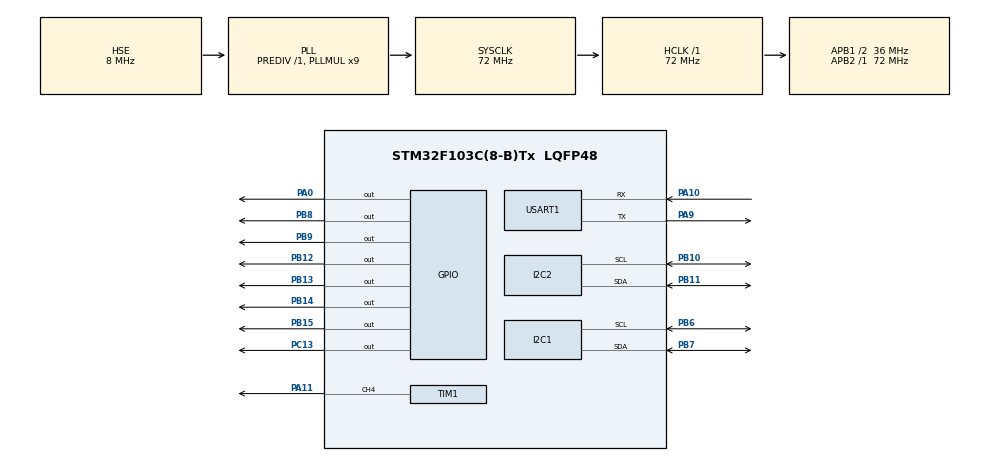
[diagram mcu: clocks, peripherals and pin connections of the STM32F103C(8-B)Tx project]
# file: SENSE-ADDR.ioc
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I2C2.NoStretchMode=I2C_NOSTRETCH_DISABLE
Mcu.Family=STM32F1
Mcu.Name=STM32F103C(8-B)Tx
Mcu.Package=LQFP48
NVIC.PriorityGroup=NVIC_PRIORITYGROUP_4
NVIC.TIM1_BRK_IRQn=true\:12\:0\:true\:false\:true\:true\:true\:true
NVIC.TIM1_CC_IRQn=true\:12\:0\:true\:false\:true\:true\:true\:true
NVIC.TIM1_TRG_COM_IRQn=true\:12\:0\:true\:false\:true\:true\:true\:true
NVIC.TIM1_UP_IRQn=true\:12\:0\:true\:false\:true\:true\:true\:true
PA0-WKUP.Signal=GPIO_Output
PA10.Mode=Asynchronous
PA10.Signal=USART1_RX
PA11.Signal=S_TIM1_CH4
PA9.Mode=Asynchronous
PA9.Signal=USART1_TX
PB10.Mode=I2C
PB10.Signal=I2C2_SCL
PB11.Mode=I2C
PB11.Signal=I2C2_SDA
PB12.GPIO_PuPd=GPIO_PULLDOWN
PB12.Signal=GPIO_Output
PB13.GPIO_PuPd=GPIO_PULLDOWN
PB13.Signal=GPIO_Output
PB14.GPIO_PuPd=GPIO_PULLDOWN
PB14.Signal=GPIO_Output
PB15.GPIO_PuPd=GPIO_PULLDOWN
PB15.Signal=GPIO_Output
PB6.Mode=I2C
PB6.Signal=I2C1_SCL
PB7.Mode=I2C
PB7.Signal=I2C1_SDA
PB8.Signal=GPIO_Output
PB9.Signal=GPIO_Output
PC13-TAMPER-RTC.Signal=GPIO_Output
PC14-OSC32_IN.Mode=LSE-External-Oscillator
PC14-OSC32_IN.Signal=RCC_OSC32_IN
PC15-OSC32_OUT.Mode=LSE-External-Oscillator
PC15-OSC32_OUT.Signal=RCC_OSC32_OUT
PD0-OSC_IN.Mode=HSE-External-Oscillator
PD0-OSC_IN.Signal=RCC_OSC_IN
PD1-OSC_OUT.Mode=HSE-External-Oscillator
PD1-OSC_OUT.Signal=RCC_OSC_OUT
ProjectManager.HeapSize=0x200
ProjectManager.StackSize=0x400
ProjectManager.TargetToolchain=STM32CubeIDE
RCC.AHBFreq_Value=72000000
RCC.APB1CLKDivider=RCC_HCLK_DIV2
RCC.APB1Freq_Value=36000000
RCC.APB1TimFreq_Value=72000000
RCC.APB2Freq_Value=72000000
RCC.APB2TimFreq_Value=72000000
RCC.HCLKFreq_Value=72000000
RCC.PLLMUL=RCC_PLL_MUL9
RCC.PLLSourceVirtual=RCC_PLLSOURCE_HSE
RCC.SYSCLKFreq_VALUE=72000000
RCC.SYSCLKSource=RCC_SYSCLKSOURCE_PLLCLK
RCC.USBFreq_Value=72000000
SH.S_TIM1_CH4.0=TIM1_CH4,PWM Generation4 CH4
TIM1.Channel-PWM\ Generation4\ CH4=TIM_CHANNEL_4
TIM1.Period=1000-1
TIM1.Prescaler=7200-1
USART1.VirtualMode=VM_ASYNC
VP_TIM1_VS_ClockSourceINT.Mode=Internal
board=custom

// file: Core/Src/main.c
/* USER CODE BEGIN Header */
/**
  ******************************************************************************
  * @file           : main.c
  * @brief          : Main program body
  ******************************************************************************
  * @attention
  *
  * Copyright (c) 2023 STMicroelectronics.
  * All rights reserved.
  *
  * This software is licensed under terms that can be found in the LICENSE file
  * in the root directory of this software component.
  * If no LICENSE file comes with this software, it is provided AS-IS.
  *
  ******************************************************************************
  */
/* USER CODE END Header */
#include "main.h"

/* USER CODE BEGIN Includes */
//#include "sensor_lib/sensors_logic.h"
#include "sensor_lib/tf-miniLuna-I2C-COMM.h"
#include "sensor_lib/tf-miniS-I2C-COMM.h"
#include "sensor_lib/tf-miniS-UART-COMM.h"
/* USER CODE END Includes */

/* USER CODE BEGIN PD */
/*
 * 				ENDEREÇOS
 * 	DIREITTA:
 * 		- 0x10	--	EXTERNO (MAIN)
 * 		- 0x11
 * 		- 0x12
 * 		- 0x13
 * 		- 0x14
 * 		- 0x15	--	INTERNO
 * 	ESQUERDA:
 * 		- 0x20	-- 	EXTERNO (MAIN)
 * 		- 0x21
 * 		- 0x22
 * 		- 0x23
 * 		- 0x24
 * 		- 0x25	--	INTERNO
 */
/* USER CODE END PD */

I2C_HandleTypeDef hi2c1;
I2C_HandleTypeDef hi2c2;

TIM_HandleTypeDef htim1;

UART_HandleTypeDef huart1;

void SystemClock_Config(void);
static void MX_GPIO_Init(void);
static void MX_TIM1_Init(void);
static void MX_I2C1_Init(void);
static void MX_I2C2_Init(void);
static void MX_USART1_UART_Init(void);

/* USER CODE BEGIN 0 */
uint8_t addr[4];
uint16_t reading_E[4];
/* USER CODE END 0 */

int main(void)
{

  /* MCU Configuration--------------------------------------------------------*/

  /* Reset of all peripherals, Initializes the Flash interface and the Systick. */

	HAL_Init();

  /* Configure the system clock */
  SystemClock_Config();

  /* Initialize all configured peripherals */
  MX_GPIO_Init();
  MX_TIM1_Init();
  MX_I2C1_Init();
  MX_I2C2_Init();
  MX_USART1_UART_Init();
  /* USER CODE BEGIN 2 */
  HAL_TIM_Base_Start_IT(&htim1);
  HAL_TIM_PWM_Start_IT(&htim1, TIM_CHANNEL_4);
  TIM1->CCR4 = 500;
  /* USER CODE END 2 */

  /* Infinite loop */
  /* USER CODE BEGIN WHILE */
  i2c_scan_devices(&hi2c1, addr);
//  i2c_change_addr_tfluna(&hi2c2, 0x70, 0x24);
  uint16_t dist  = i2c_receive_bus_tfminiS(&hi2c1, 0x10);
//  i2c_factory_reset_tfminiS(&hi2c1, 0x10);
//  uint8_t* not =  set_UART_PTL_from_i2c(&hi2c1, 0x10);
//  i2c_setup_triggerMode(&hi2c1, 0x10);
//  i2c_setup_triggerMode(&hi2c2, 0x25);
//  i2c_save_settings_tfluna(&hi2c2, 0x24);
//  i2c_save_settings_tfluna(&hi2c1, 0x70);
  i2c_scan_devices(&hi2c2, addr);

  while (1)
  {
    /* USER CODE END WHILE */

    /* USER CODE BEGIN 3 */
//	  if(test_sensor(&hi2c2, 0x20)){
//		  sensor_take_reading(&hi2c2, reading_E, 0x20 , 0);
//		  HAL_Delay(5);
//	  }
//	  if(test_sensor(&hi2c2, 0x21)){
//		  sensor_take_reading(&hi2c2, reading_E, 0x21 , 1);
//		  HAL_Delay(5);
//	  }
//	  if(test_sensor(&hi2c2, 0x22)){
////		  sensor_take_reading(&hi2c2, reading_E, 0x12 , 2);
//		  i2c_trigger_sample_tfLuna_(&hi2c2, 0x22);
//		  HAL_Delay(5);
//	  }
//	  if(test_sensor(&hi2c2, 0x23)){
////		  sensor_take_reading(&hi2c2, reading_E, 0x13 , 3);
//		  i2c_trigger_sample_tfLuna_(&hi2c2, 0x23);
//		  HAL_Delay(5);
//	  }

//	  sensor_take_reading(&hi2c1, reading_E, 0x11 , 1);
	  HAL_Delay(50);
//	  sensor_take_reading(&hi2c1, reading_E, 0x12 , 2);
//	  HAL_Delay(5);
	  sensor_take_reading(&hi2c2, reading_E, 0x10 , 3);

//	  HAL_GPIO_TogglePin(GPIOB, GPIO_PIN_12);
//	  HAL_GPIO_TogglePin(GPIOB, GPIO_PIN_14);
//	  HAL_GPIO_TogglePin(GPIOB, GPIO_PIN_12);
//
//
//
//	  HAL_GPIO_TogglePin(GPIOB, GPIO_PIN_13);
////	  HAL_GPIO_TogglePin(GPIOB, GPIO_PIN_14);
//	  HAL_GPIO_TogglePin(GPIOB, GPIO_PIN_15);
//	  HAL_Delay(400);
//	  HAL_GPIO_TogglePin(GPIOB, GPIO_PIN_13);
////	  HAL_GPIO_TogglePin(GPIOB, GPIO_PIN_14);
//	  HAL_GPIO_TogglePin(GPIOB, GPIO_PIN_15);
//	  HAL_GPIO_TogglePin(GPIOB, GPIO_PIN_12);
//	  HAL_GPIO_TogglePin(GPIOB, GPIO_PIN_14);
//	  HAL_Delay(400);
//	  HAL_GPIO_TogglePin(GPIOB, GPIO_PIN_12);
//	  HAL_GPIO_TogglePin(GPIOB, GPIO_PIN_14);
  }
  /* USER CODE END 3 */
}

void SystemClock_Config(void)
{
  RCC_OscInitTypeDef RCC_OscInitStruct = {0};
  RCC_ClkInitTypeDef RCC_ClkInitStruct = {0};

  /** Initializes the RCC Oscillators according to the specified parameters
  * in the RCC_OscInitTypeDef structure.
  */
  RCC_OscInitStruct.OscillatorType = RCC_OSCILLATORTYPE_HSE;
  RCC_OscInitStruct.HSEState = RCC_HSE_ON;
  RCC_OscInitStruct.HSEPredivValue = RCC_HSE_PREDIV_DIV1;
  RCC_OscInitStruct.HSIState = RCC_HSI_ON;
  RCC_OscInitStruct.PLL.PLLState = RCC_PLL_ON;
  RCC_OscInitStruct.PLL.PLLSource = RCC_PLLSOURCE_HSE;
  RCC_OscInitStruct.PLL.PLLMUL = RCC_PLL_MUL9;
  if (HAL_RCC_OscConfig(&RCC_OscInitStruct) != HAL_OK)
  {
    Error_Handler();
  }

  /** Initializes the CPU, AHB and APB buses clocks
  */
  RCC_ClkInitStruct.ClockType = RCC_CLOCKTYPE_HCLK|RCC_CLOCKTYPE_SYSCLK
                              |RCC_CLOCKTYPE_PCLK1|RCC_CLOCKTYPE_PCLK2;
  RCC_ClkInitStruct.SYSCLKSource = RCC_SYSCLKSOURCE_PLLCLK;
  RCC_ClkInitStruct.AHBCLKDivider = RCC_SYSCLK_DIV1;
  RCC_ClkInitStruct.APB1CLKDivider = RCC_HCLK_DIV2;
  RCC_ClkInitStruct.APB2CLKDivider = RCC_HCLK_DIV1;

  if (HAL_RCC_ClockConfig(&RCC_ClkInitStruct, FLASH_LATENCY_2) != HAL_OK)
  {
    Error_Handler();
  }
}

static void MX_I2C1_Init(void)
{

  hi2c1.Instance = I2C1;
  hi2c1.Init.ClockSpeed = 100000;
  hi2c1.Init.DutyCycle = I2C_DUTYCYCLE_2;
  hi2c1.Init.OwnAddress1 = 0;
  hi2c1.Init.AddressingMode = I2C_ADDRESSINGMODE_7BIT;
  hi2c1.Init.DualAddressMode = I2C_DUALADDRESS_DISABLE;
  hi2c1.Init.OwnAddress2 = 0;
  hi2c1.Init.GeneralCallMode = I2C_GENERALCALL_DISABLE;
  hi2c1.Init.NoStretchMode = I2C_NOSTRETCH_DISABLE;
  if (HAL_I2C_Init(&hi2c1) != HAL_OK)
  {
    Error_Handler();
  }

}

static void MX_I2C2_Init(void)
{

  hi2c2.Instance = I2C2;
  hi2c2.Init.ClockSpeed = 100000;
  hi2c2.Init.DutyCycle = I2C_DUTYCYCLE_2;
  hi2c2.Init.OwnAddress1 = 0;
  hi2c2.Init.AddressingMode = I2C_ADDRESSINGMODE_7BIT;
  hi2c2.Init.DualAddressMode = I2C_DUALADDRESS_DISABLE;
  hi2c2.Init.OwnAddress2 = 0;
  hi2c2.Init.GeneralCallMode = I2C_GENERALCALL_DISABLE;
  hi2c2.Init.NoStretchMode = I2C_NOSTRETCH_DISABLE;
  if (HAL_I2C_Init(&hi2c2) != HAL_OK)
  {
    Error_Handler();
  }

}

static void MX_TIM1_Init(void)
{

  TIM_ClockConfigTypeDef sClockSourceConfig = {0};
  TIM_MasterConfigTypeDef sMasterConfig = {0};
  TIM_OC_InitTypeDef sConfigOC = {0};
  TIM_BreakDeadTimeConfigTypeDef sBreakDeadTimeConfig = {0};

  htim1.Instance = TIM1;
  htim1.Init.Prescaler = 7200-1;
  htim1.Init.CounterMode = TIM_COUNTERMODE_UP;
  htim1.Init.Period = 1000-1;
  htim1.Init.ClockDivision = TIM_CLOCKDIVISION_DIV1;
  htim1.Init.RepetitionCounter = 0;
  htim1.Init.AutoReloadPreload = TIM_AUTORELOAD_PRELOAD_DISABLE;
  if (HAL_TIM_Base_Init(&htim1) != HAL_OK)
  {
    Error_Handler();
  }
  sClockSourceConfig.ClockSource = TIM_CLOCKSOURCE_INTERNAL;
  if (HAL_TIM_ConfigClockSource(&htim1, &sClockSourceConfig) != HAL_OK)
  {
    Error_Handler();
  }
  if (HAL_TIM_PWM_Init(&htim1) != HAL_OK)
  {
    Error_Handler();
  }
  sMasterConfig.MasterOutputTrigger = TIM_TRGO_RESET;
  sMasterConfig.MasterSlaveMode = TIM_MASTERSLAVEMODE_DISABLE;
  if (HAL_TIMEx_MasterConfigSynchronization(&htim1, &sMasterConfig) != HAL_OK)
  {
    Error_Handler();
  }
  sConfigOC.OCMode = TIM_OCMODE_PWM1;
  sConfigOC.Pulse = 0;
  sConfigOC.OCPolarity = TIM_OCPOLARITY_HIGH;
  sConfigOC.OCFastMode = TIM_OCFAST_DISABLE;
  sConfigOC.OCIdleState = TIM_OCIDLESTATE_RESET;
  sConfigOC.OCNIdleState = TIM_OCNIDLESTATE_RESET;
  if (HAL_TIM_PWM_ConfigChannel(&htim1, &sConfigOC, TIM_CHANNEL_4) != HAL_OK)
  {
    Error_Handler();
  }
  sBreakDeadTimeConfig.OffStateRunMode = TIM_OSSR_DISABLE;
  sBreakDeadTimeConfig.OffStateIDLEMode = TIM_OSSI_DISABLE;
  sBreakDeadTimeConfig.LockLevel = TIM_LOCKLEVEL_OFF;
  sBreakDeadTimeConfig.DeadTime = 0;
  sBreakDeadTimeConfig.BreakState = TIM_BREAK_DISABLE;
  sBreakDeadTimeConfig.BreakPolarity = TIM_BREAKPOLARITY_HIGH;
  sBreakDeadTimeConfig.AutomaticOutput = TIM_AUTOMATICOUTPUT_DISABLE;
  if (HAL_TIMEx_ConfigBreakDeadTime(&htim1, &sBreakDeadTimeConfig) != HAL_OK)
  {
    Error_Handler();
  }
  HAL_TIM_MspPostInit(&htim1);

}

static void MX_USART1_UART_Init(void)
{

  huart1.Instance = USART1;
  huart1.Init.BaudRate = 115200;
  huart1.Init.WordLength = UART_WORDLENGTH_8B;
  huart1.Init.StopBits = UART_STOPBITS_1;
  huart1.Init.Parity = UART_PARITY_NONE;
  huart1.Init.Mode = UART_MODE_TX_RX;
  huart1.Init.HwFlowCtl = UART_HWCONTROL_NONE;
  huart1.Init.OverSampling = UART_OVERSAMPLING_16;
  if (HAL_UART_Init(&huart1) != HAL_OK)
  {
    Error_Handler();
  }

}

static void MX_GPIO_Init(void)
{
  GPIO_InitTypeDef GPIO_InitStruct = {0};

  /* GPIO Ports Clock Enable */
  __HAL_RCC_GPIOC_CLK_ENABLE();
  __HAL_RCC_GPIOD_CLK_ENABLE();
  __HAL_RCC_GPIOA_CLK_ENABLE();
  __HAL_RCC_GPIOB_CLK_ENABLE();

  /*Configure GPIO pin Output Level */
  HAL_GPIO_WritePin(GPIOC, GPIO_PIN_13, GPIO_PIN_RESET);

  /*Configure GPIO pin Output Level */
  HAL_GPIO_WritePin(GPIOA, GPIO_PIN_0, GPIO_PIN_RESET);

  /*Configure GPIO pin Output Level */
  HAL_GPIO_WritePin(GPIOB, GPIO_PIN_12|GPIO_PIN_13|GPIO_PIN_14|GPIO_PIN_15
                          |GPIO_PIN_8|GPIO_PIN_9, GPIO_PIN_RESET);

  /*Configure GPIO pin : PC13 */
  GPIO_InitStruct.Pin = GPIO_PIN_13;
  GPIO_InitStruct.Mode = GPIO_MODE_OUTPUT_PP;
  GPIO_InitStruct.Pull = GPIO_NOPULL;
  GPIO_InitStruct.Speed = GPIO_SPEED_FREQ_LOW;
  HAL_GPIO_Init(GPIOC, &GPIO_InitStruct);

  /*Configure GPIO pin : PA0 */
  GPIO_InitStruct.Pin = GPIO_PIN_0;
  GPIO_InitStruct.Mode = GPIO_MODE_OUTPUT_PP;
  GPIO_InitStruct.Pull = GPIO_NOPULL;
  GPIO_InitStruct.Speed = GPIO_SPEED_FREQ_LOW;
  HAL_GPIO_Init(GPIOA, &GPIO_InitStruct);

  /*Configure GPIO pins : PB12 PB13 PB14 PB15 */
  GPIO_InitStruct.Pin = GPIO_PIN_12|GPIO_PIN_13|GPIO_PIN_14|GPIO_PIN_15;
  GPIO_InitStruct.Mode = GPIO_MODE_OUTPUT_PP;
  GPIO_InitStruct.Pull = GPIO_PULLDOWN;
  GPIO_InitStruct.Speed = GPIO_SPEED_FREQ_LOW;
  HAL_GPIO_Init(GPIOB, &GPIO_InitStruct);

  /*Configure GPIO pins : PB8 PB9 */
  GPIO_InitStruct.Pin = GPIO_PIN_8|GPIO_PIN_9;
  GPIO_InitStruct.Mode = GPIO_MODE_OUTPUT_PP;
  GPIO_InitStruct.Pull = GPIO_NOPULL;
  GPIO_InitStruct.Speed = GPIO_SPEED_FREQ_LOW;
  HAL_GPIO_Init(GPIOB, &GPIO_InitStruct);

}

/* USER CODE BEGIN 4 */

void HAL_TIM_PeriodElapsedCallback(TIM_HandleTypeDef *htim){
	if(htim->Instance == TIM1){
		HAL_GPIO_WritePin(GPIOC, GPIO_PIN_13, 1);
	}
}

void HAL_TIM_PWM_PulseFinishedCallback(TIM_HandleTypeDef *htim){
	if(htim->Instance == TIM1){
		HAL_GPIO_WritePin(GPIOC, GPIO_PIN_13, 0);
	}
}

/* USER CODE END 4 */

void Error_Handler(void)
{
  __disable_irq();
  while (1)
  {
  }
}
